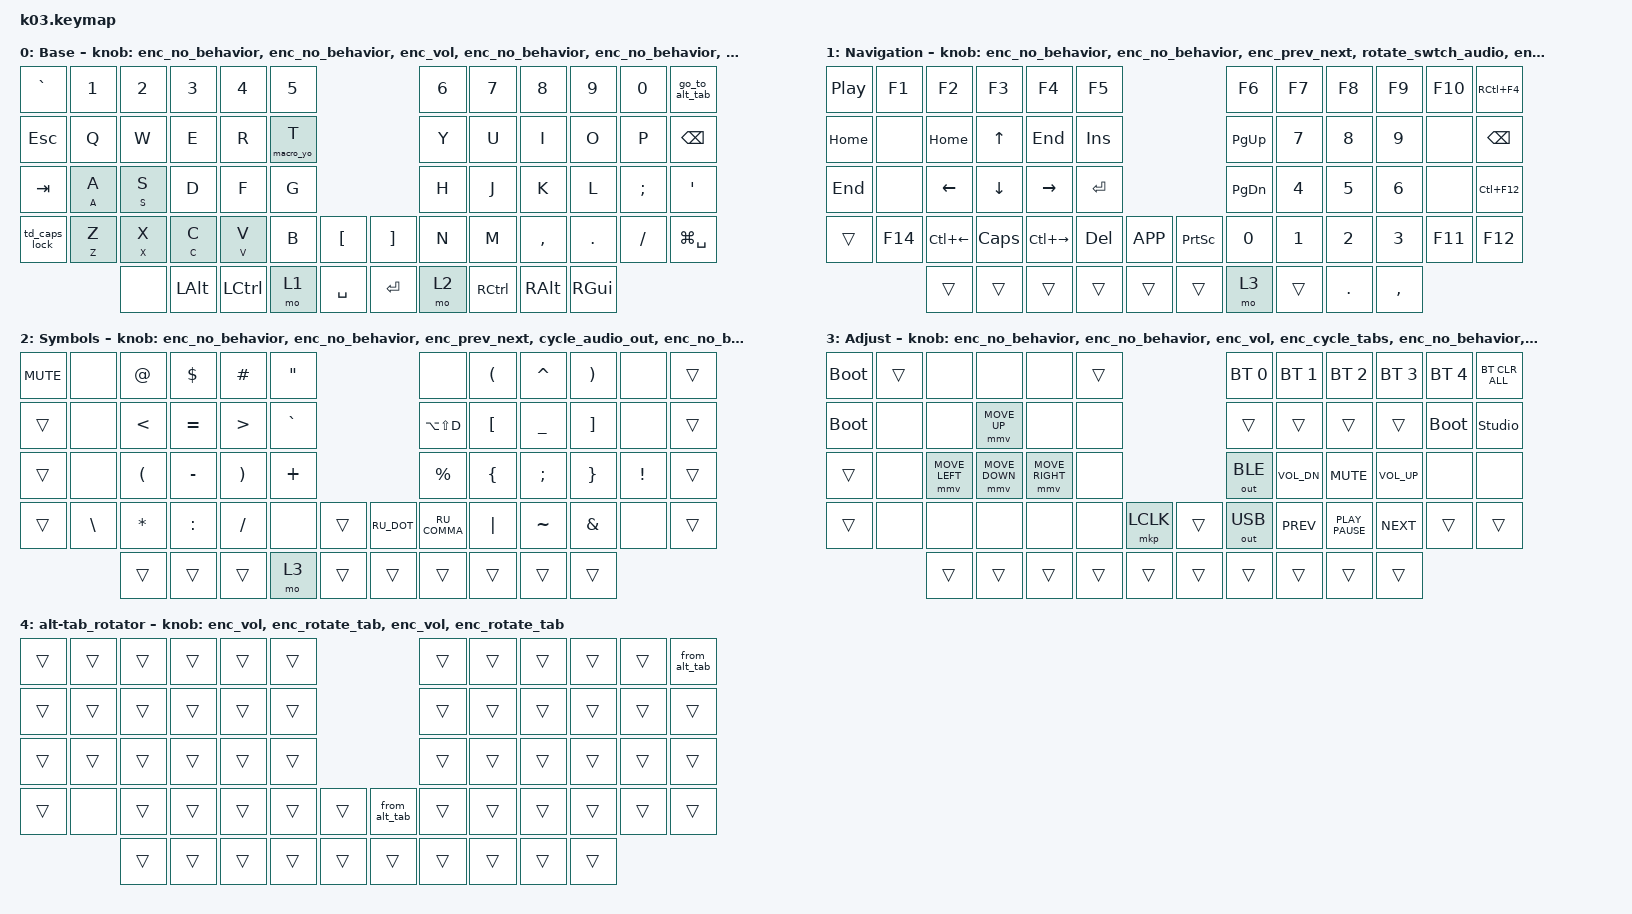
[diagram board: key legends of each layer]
#include "keys_ru.h"

#define ZMK_MOUSE_SCRL_VAL 200
#define ZMK_POINTING_DEFAULT_SCRL_VAL 50

#include <behaviors.dtsi>
#include <dt-bindings/zmk/bt.h>
#include <dt-bindings/zmk/keys.h>
#include <dt-bindings/zmk/outputs.h>
#include <dt-bindings/zmk/pointing.h>

/ {
    behaviors {
        // Encoder #1 → Volume

        enc_vol: enc_vol {
            compatible = "zmk,behavior-sensor-rotate";
            label = "ENC_VOL";
            #sensor-binding-cells = <0>;
            bindings = <&kp C_VOL_UP>, <&kp C_VOL_DN>;
        };

        // Encoder #2 → Alt+Tab (default layer)

        enc_rotate_tab: enc_rotate_tab {
            compatible = "zmk,behavior-sensor-rotate";
            label = "ENC_ROTATE_TAB";
            #sensor-binding-cells = <0>;
            bindings = <&kp TAB>, <&kp LS(TAB)>;
        };

        enc_no_behavior: enc_no_behavior {
            compatible = "zmk,behavior-sensor-rotate";
            label = "ENC_NO_BEHAVIOR";
            #sensor-binding-cells = <0>;
            bindings = <&none>, <&none>;
        };

        enc_cycle_tabs: enc_cycle_tabs {
            compatible = "zmk,behavior-sensor-rotate";
            label = "ENC_CYCLE_TABS";
            #sensor-binding-cells = <0>;
            bindings = <&kp RC(PAGE_DOWN)>, <&kp RC(PAGE_UP)>;
        };

        enc_prev_next: enc_prev_next {
            compatible = "zmk,behavior-sensor-rotate";
            label = "ENC_PREV_NEXT";
            #sensor-binding-cells = <0>;
            bindings = <&kp C_NEXT>, <&kp C_PREV>;
        };

        kbd_ctrl_on_hold: kbd_ctrl_on_hold {
            compatible = "zmk,behavior-hold-tap";
            label = "KBD_CTRL_ON_HOLD";
            #binding-cells = <2>;
            tapping-term-ms = <400>;
            flavor = "tap-preferred";
            require-prior-idle-ms = <125>;
            bindings = <&ctrl_once>, <&kp>;
        };

        td_caps_lock: td_caps_lock {
            compatible = "zmk,behavior-tap-dance";
            label = "TD_CAPS_LOCK";
            #binding-cells = <0>;
            bindings = <&kp LEFT_SHIFT>, <&kp CAPSLOCK>;
        };

        kb_yo: kb_yo {
            compatible = "zmk,behavior-hold-tap";
            label = "KB_YO";
            #binding-cells = <2>;
            tapping-term-ms = <400>;
            flavor = "tap-preferred";
            require-prior-idle-ms = <125>;
            bindings = <&macro_yo>, <&kp>;
        };

        cycle_audio_out: cycle_audio_out {
            compatible = "zmk,behavior-sensor-rotate";
            label = "CYCLE_AUDIO_OUT";
            #sensor-binding-cells = <0>;
            bindings = <&kp F14>, <&kp F15>;
        };

        enc_vscroll_fast: enc_vscroll_fast {
            compatible = "zmk,behavior-sensor-rotate";
            label = "ENC_VSCROLL_FAST";
            #sensor-binding-cells = <0>;
            tap-ms = <150>;
            bindings = <&msc MOVE_Y(40)>, <&msc MOVE_Y(-40)>;
        };

        enc_vscroll_slow: enc_vscroll_slow {
            compatible = "zmk,behavior-sensor-rotate";
            label = "ENC_VSCROLL_SLOW";
            #sensor-binding-cells = <0>;
            tap-ms = <150>;
            bindings = <&msc MOVE_Y(20)>, <&msc MOVE_Y(-20)>;
        };

        enc_hscroll_N: enc_hscroll_N {
            compatible = "zmk,behavior-sensor-rotate";
            label = "ENC_HSCROLL_N";
            #sensor-binding-cells = <0>;
            tap-ms = <150>;
            bindings = <&msc MOVE_X(40)>, <&msc MOVE_X(-40)>;
        };

        rotate_swtch_audio: rotate_swtch_audio {
            compatible = "zmk,behavior-sensor-rotate";
            label = "ROTATE_SWTCH_AUDIO";
            #sensor-binding-cells = <0>;
            bindings = <&kp F18>, <&kp F19>;
        };
    };

    macros {
        go_to_alt_tab: go_to_alt_tab {
            compatible = "zmk,behavior-macro";
            #binding-cells = <0>;
            bindings = <&to 4 &kt LEFT_ALT>;
            label = "GO_TO_ALT_TAB";
        };

        from_alt_tab: from_alt_tab {
            compatible = "zmk,behavior-macro";
            #binding-cells = <0>;
            bindings = <&kt LEFT_ALT &to 0>;
            label = "FROM_ALT_TAB";
        };

        ctrl_once: ctrl_once {
            compatible = "zmk,behavior-macro-one-param";
            #binding-cells = <1>;     // we’ll pass the key as a parameter
            bindings =
                <&macro_press>,
                <&kp LCTRL &macro_param_1to1>,
                <&macro_tap>,
                <&kp MACRO_PLACEHOLDER>,
                <&macro_release>,
                <&kp LCTRL>;

            label = "CTRL_ONCE";
        };

        macro_yo: macro_yo {
            compatible = "zmk,behavior-macro";
            #binding-cells = <0>;
            bindings = <&kp GRAVE>;
            label = "MACRO_YO";
        };
    };

    keymap {
        compatible = "zmk,keymap";

        base {
            bindings = <
&kp GRAVE      &kp N1                 &kp N2                 &kp N3                 &kp N4                 &kp N5                              &kp N6  &kp N7     &kp N8     &kp N9    &kp N0    &go_to_alt_tab
&kp ESC        &kp Q                  &kp W                  &kp E                  &kp R                  &kb_yo 0 T                          &kp Y   &kp U      &kp I      &kp O     &kp P     &kp BACKSPACE
&kp TAB        &kbd_ctrl_on_hold A A  &kbd_ctrl_on_hold S S  &kp D                  &kp F                  &kp G                               &kp H   &kp J      &kp K      &kp L     &kp SEMI  &kp SQT
&td_caps_lock  &kbd_ctrl_on_hold Z Z  &kbd_ctrl_on_hold X X  &kbd_ctrl_on_hold C C  &kbd_ctrl_on_hold V V  &kp B       &kp LBKT     &kp RBKT   &kp N   &kp M      &kp COMMA  &kp DOT   &kp FSLH  &kp LG(SPACE)
                                      &none                  &kp LALT               &kp LCTRL              &mo 1       &kp SPACE    &kp ENTER  &mo 2   &kp RCTRL  &kp RALT   &kp RGUI
            >;

            display-name = "Base";
            sensor-bindings =
                <&enc_no_behavior>,
                <&enc_no_behavior>,
                <&enc_vol>,
                <&enc_no_behavior>,
                <&enc_no_behavior>,
                <&enc_vscroll_fast>;

            //  unused
        };

        nav {
            bindings = <
&kp C_PLAY_PAUSE  &kp F1   &kp F2        &kp F3    &kp F4         &kp F5                                 &kp F6     &kp F7        &kp F8        &kp F9        &kp F10  &kp RC(F4)
&kp HOME          &none    &kp HOME      &kp UP    &kp END        &kp INS                                &kp PG_UP  &kp NUMBER_7  &kp NUMBER_8  &kp NUMBER_9  &none    &kp BACKSPACE
&kp END           &none    &kp LEFT      &kp DOWN  &kp RIGHT      &kp RET                                &kp PG_DN  &kp NUMBER_4  &kp NUMBER_5  &kp N6        &none    &kp LC(F12)
&trans            &kp F14  &kp LC(LEFT)  &kp CAPS  &kp LC(RIGHT)  &kp DEL  &kp K_APP    &kp PRINTSCREEN  &kp N0     &kp N1        &kp NUMBER_2  &kp NUMBER_3  &kp F11  &kp F12
                           &trans        &trans    &trans         &trans   &trans       &trans           &mo 3      &trans        &kp DOT       &kp COMMA
            >;

            display-name = "Navigation";
            sensor-bindings =
                <&enc_no_behavior>,
                <&enc_no_behavior>,
                <&enc_prev_next>,
                <&rotate_swtch_audio>,
                <&enc_no_behavior>,
                <&enc_hscroll_N>;

            //  unused
        };

        sym {
            bindings = <
&kp C_MUTE  &none     &kp AT    &kp DLLR   &kp HASH  &kp DQT                          &none          &kp LPAR  &kp CARET  &kp RPAR  &none     &trans
&trans      &none     &kp LT    &kp EQUAL  &kp GT    &kp GRAVE                        &kp LA(LS(D))  &kp LBKT  &kp UNDER  &kp RBKT  &none     &trans
&trans      &none     &kp LPAR  &kp MINUS  &kp RPAR  &kp PLUS                         &kp PRCNT      &kp LBRC  &kp SEMI   &kp RBRC  &kp EXCL  &trans
&trans      &kp BSLH  &kp STAR  &kp COLON  &kp FSLH  &none      &trans    &kp RU_DOT  &kp RU_COMMA   &kp PIPE  &kp TILDE  &kp AMPS  &none     &trans
                      &trans    &trans     &trans    &mo 3      &trans    &trans      &trans         &trans    &trans     &trans
            >;

            display-name = "Symbols";
            sensor-bindings =
                <&enc_no_behavior>,
                <&enc_no_behavior>,
                <&enc_prev_next>,
                <&cycle_audio_out>,
                <&enc_no_behavior>,
                <&enc_vscroll_slow>;

            //  unused
        };

        adj {
            bindings = <
&bootloader  &trans  &none           &none           &none            &trans                       &bt BT_SEL 0  &bt BT_SEL 1  &bt BT_SEL 2      &bt BT_SEL 3  &bt BT_SEL 4  &bt BT_CLR_ALL
&bootloader  &none   &none           &mmv MOVE_UP    &none            &none                        &trans        &trans        &trans            &trans        &bootloader   &studio_unlock
&trans       &none   &mmv MOVE_LEFT  &mmv MOVE_DOWN  &mmv MOVE_RIGHT  &none                        &out OUT_BLE  &kp C_VOL_DN  &kp K_MUTE        &kp C_VOL_UP  &none         &none
&trans       &none   &none           &none           &none            &none   &mkp LCLK    &trans  &out OUT_USB  &kp K_PREV    &kp K_PLAY_PAUSE  &kp K_NEXT    &trans        &trans
                     &trans          &trans          &trans           &trans  &trans       &trans  &trans        &trans        &trans            &trans
            >;

            display-name = "Adjust";
            sensor-bindings =
                <&enc_no_behavior>,
                <&enc_no_behavior>,
                <&enc_vol>,
                <&enc_cycle_tabs>,
                <&enc_no_behavior>,
                <&enc_no_behavior>;

            //  unused
        };

        alt-tab_rotator {
            bindings = <
&trans  &trans  &trans  &trans  &trans  &trans                           &trans  &trans  &trans  &trans  &trans  &from_alt_tab
&trans  &trans  &trans  &trans  &trans  &trans                           &trans  &trans  &trans  &trans  &trans  &trans
&trans  &trans  &trans  &trans  &trans  &trans                           &trans  &trans  &trans  &trans  &trans  &trans
&trans  &none   &trans  &trans  &trans  &trans  &trans    &from_alt_tab  &trans  &trans  &trans  &trans  &trans  &trans
                &trans  &trans  &trans  &trans  &trans    &trans         &trans  &trans  &trans  &trans
            >;

            sensor-bindings =
                <&enc_vol>,
                <&enc_rotate_tab>,
                <&enc_vol>,
                <&enc_rotate_tab>;
        };
    };
};
